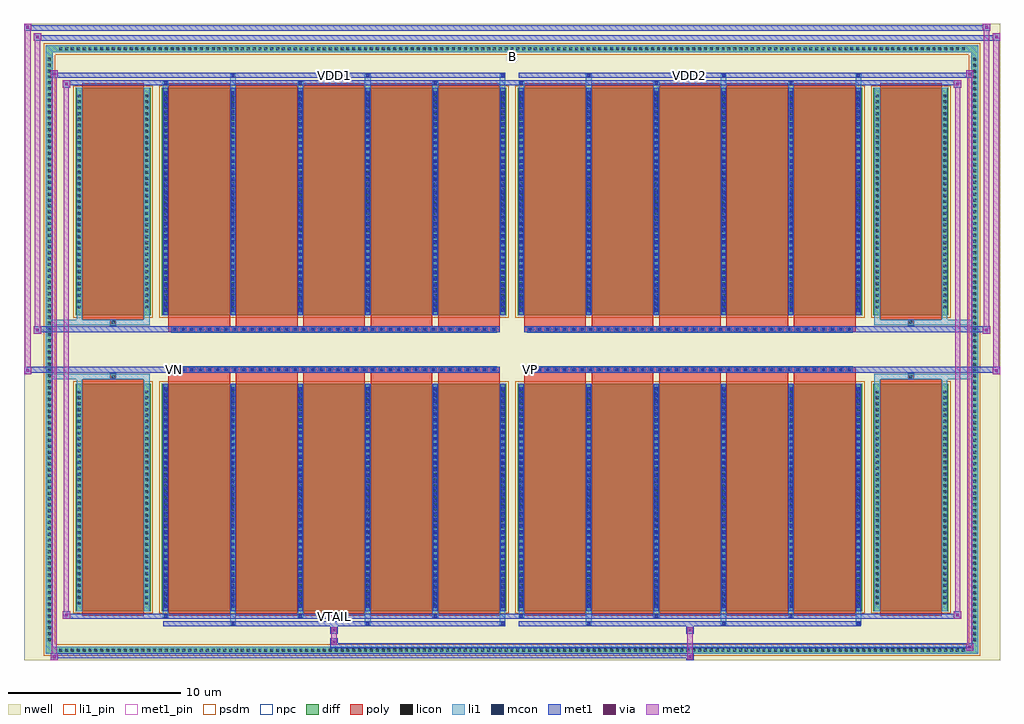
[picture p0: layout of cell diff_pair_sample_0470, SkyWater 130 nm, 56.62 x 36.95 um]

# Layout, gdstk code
import gdstk
lib = gdstk.Library(unit=1e-6, precision=5e-09)
def R(c, l, rs):  # rectangles x0, y0, x1, y1
    for r in rs: c.add(gdstk.rectangle(r[:2], r[2:], *l))
def A(c, l, x, y, w, h, nx, ny, dx, dy):  # array of equal rectangles
    R(c, l, [(x+i*dx, y+j*dy, x+i*dx+w, y+j*dy+h) for i in range(nx) for j in range(ny)])
def P(c, l, *ps):  # polygons
    for p in ps: c.add(gdstk.Polygon(p, *l))
nwell = (64, 20)
diff = (65, 20)
poly = (66, 20)
licon = (66, 44)
li1_pin = (67, 16)
li1 = (67, 20)
mcon = (67, 44)
met1_pin = (68, 16)
met1 = (68, 20)
via = (68, 44)
met2 = (69, 20)
psdm = (94, 20)
npc = (95, 20)

diff_pair_sample_0470 = lib.new_cell('diff_pair_sample_0470')
R(diff_pair_sample_0470, nwell, [(-28.31,-18.04,28.31,18.91), (-25.63,-16.23,-0.01,-0.805), (0.01,-16.23,25.63,-0.805), (-25.63,0.805,-0.01,16.23), (0.01,0.805,25.63,16.23)])
A(diff_pair_sample_0470, diff, -26.385, -17.64, 0.41, 0.41, 155, 2, 0.34, 34.87)
A(diff_pair_sample_0470, diff, -27.04, -17.035, 0.41, 0.41, 1, 100, 0, 0.34)
A(diff_pair_sample_0470, diff, 26.63, -17.035, 0.41, 0.41, 1, 100, 0, 0.34)
R(diff_pair_sample_0470, diff, [(-26.385,-17.64,26.385,-17.23), (-27.04,-17.035,-26.63,17.035), (26.63,-17.035,27.04,17.035), (-25.32,-15.185,-20.96,-1.985), (-20.32,-15.185,-0.32,-1.985), (0.32,-15.185,20.32,-1.985), (20.96,-15.185,25.32,-1.985), (-25.32,1.985,-20.96,15.185), (-20.32,1.985,-0.32,15.185), (0.32,1.985,20.32,15.185), (20.96,1.985,25.32,15.185), (-26.385,17.23,26.385,17.64)])
P(diff_pair_sample_0470, diff, [(27.04,17.64),(-27.04,17.64),(-27.04,-17.23),(-26.63,-17.23),(-26.63,17.23),(26.63,17.23),(26.63,-17.23),(-26.63,-17.23),(-27.04,-17.23),(-27.04,-17.64),(27.04,-17.64)])
A(diff_pair_sample_0470, poly, -19.93, -15.435, 3.58, 13.7, 5, 2, 3.91, 17.17)
A(diff_pair_sample_0470, poly, 0.71, -15.435, 3.58, 13.7, 5, 2, 3.91, 17.17)
A(diff_pair_sample_0470, poly, -19.93, -1.735, 3.58, 0.4, 5, 2, 3.91, 3.07)
A(diff_pair_sample_0470, poly, 0.71, -1.735, 3.58, 0.4, 5, 2, 3.91, 3.07)
A(diff_pair_sample_0470, poly, -19.735, -1.335, 0.33, 0.33, 38, 2, 0.5, 2.34)
A(diff_pair_sample_0470, poly, 0.905, -1.335, 0.33, 0.33, 38, 2, 0.5, 2.34)
R(diff_pair_sample_0470, poly, [(-24.93,-15.435,-21.35,-1.735), (21.35,-15.435,24.93,-1.735), (-23.305,-1.735,-22.975,-1.405), (-23.305,-1.735,-22.975,-1.405), (22.975,-1.735,23.305,-1.405), (22.975,-1.735,23.305,-1.405), (-19.93,-1.335,-0.71,-1.005), (0.71,-1.335,19.93,-1.005), (-19.93,1.005,-0.71,1.335), (0.71,1.005,19.93,1.335), (-23.305,1.405,-22.975,1.735), (-23.305,1.405,-22.975,1.735), (22.975,1.405,23.305,1.735), (22.975,1.405,23.305,1.735), (-24.93,1.735,-21.35,15.435), (21.35,1.735,24.93,15.435)])
A(diff_pair_sample_0470, licon, -26.265, -17.52, 0.17, 0.17, 155, 2, 0.34, 34.87)
A(diff_pair_sample_0470, licon, -26.92, -16.915, 0.17, 0.17, 1, 100, 0, 0.34)
A(diff_pair_sample_0470, licon, 26.75, -16.915, 0.17, 0.17, 1, 100, 0, 0.34)
A(diff_pair_sample_0470, licon, -25.18, -14.79, 0.17, 0.17, 1, 37, 0, 0.34)
A(diff_pair_sample_0470, licon, -21.27, -14.79, 0.17, 0.17, 1, 37, 0, 0.34)
A(diff_pair_sample_0470, licon, -20.18, -14.79, 0.17, 0.17, 6, 37, 3.91, 0.34)
A(diff_pair_sample_0470, licon, 0.46, -14.79, 0.17, 0.17, 6, 37, 3.91, 0.34)
A(diff_pair_sample_0470, licon, 21.1, -14.79, 0.17, 0.17, 1, 37, 0, 0.34)
A(diff_pair_sample_0470, licon, 25.01, -14.79, 0.17, 0.17, 1, 37, 0, 0.34)
A(diff_pair_sample_0470, licon, -19.655, -1.255, 0.17, 0.17, 38, 2, 0.5, 2.34)
A(diff_pair_sample_0470, licon, 0.985, -1.255, 0.17, 0.17, 38, 2, 0.5, 2.34)
A(diff_pair_sample_0470, licon, -25.18, 2.38, 0.17, 0.17, 1, 37, 0, 0.34)
A(diff_pair_sample_0470, licon, -21.27, 2.38, 0.17, 0.17, 1, 37, 0, 0.34)
A(diff_pair_sample_0470, licon, -20.18, 2.38, 0.17, 0.17, 6, 37, 3.91, 0.34)
A(diff_pair_sample_0470, licon, 0.46, 2.38, 0.17, 0.17, 6, 37, 3.91, 0.34)
A(diff_pair_sample_0470, licon, 21.1, 2.38, 0.17, 0.17, 1, 37, 0, 0.34)
A(diff_pair_sample_0470, licon, 25.01, 2.38, 0.17, 0.17, 1, 37, 0, 0.34)
R(diff_pair_sample_0470, licon, [(-23.225,-1.655,-23.055,-1.485), (23.055,-1.655,23.225,-1.485), (-23.225,1.485,-23.055,1.655), (23.055,1.485,23.225,1.655)])
R(diff_pair_sample_0470, li1_pin, [(-0.25,16.73,0.25,17.23)])
A(diff_pair_sample_0470, li1, -26.345, -17.6, 0.33, 0.33, 155, 2, 0.34, 34.87)
A(diff_pair_sample_0470, li1, -27, -16.995, 0.33, 0.33, 1, 100, 0, 0.34)
A(diff_pair_sample_0470, li1, 26.67, -16.995, 0.33, 0.33, 1, 100, 0, 0.34)
A(diff_pair_sample_0470, li1, -16.35, -15.99, 0.33, 0.805, 3, 2, 7.82, 31.175)
A(diff_pair_sample_0470, li1, -16.27, -15.99, 0.17, 0.17, 3, 2, 7.82, 31.81)
A(diff_pair_sample_0470, li1, 4.29, -15.99, 0.33, 0.805, 3, 2, 7.82, 31.175)
A(diff_pair_sample_0470, li1, 4.37, -15.99, 0.17, 0.17, 3, 2, 7.82, 31.81)
A(diff_pair_sample_0470, li1, -20.26, -15.56, 0.33, 0.375, 3, 2, 7.82, 30.745)
A(diff_pair_sample_0470, li1, -20.18, -15.56, 0.17, 0.17, 3, 2, 7.82, 30.95)
A(diff_pair_sample_0470, li1, 0.38, -15.56, 0.33, 0.375, 3, 2, 7.82, 30.745)
A(diff_pair_sample_0470, li1, 0.46, -15.56, 0.17, 0.17, 3, 2, 7.82, 30.95)
A(diff_pair_sample_0470, li1, -20.26, -15.185, 0.33, 13.2, 6, 2, 3.91, 17.17)
A(diff_pair_sample_0470, li1, 0.38, -15.185, 0.33, 13.2, 6, 2, 3.91, 17.17)
A(diff_pair_sample_0470, li1, -20.18, -14.97, 0.17, 0.17, 6, 36, 3.91, 0.36)
A(diff_pair_sample_0470, li1, -20.18, -14.97, 0.17, 12.77, 6, 2, 3.91, 17.17)
A(diff_pair_sample_0470, li1, 0.46, -14.97, 0.17, 0.17, 6, 36, 3.91, 0.36)
A(diff_pair_sample_0470, li1, 0.46, -14.97, 0.17, 12.77, 6, 2, 3.91, 17.17)
A(diff_pair_sample_0470, li1, -25.26, -14.87, 0.33, 0.33, 1, 37, 0, 0.34)
A(diff_pair_sample_0470, li1, -21.35, -14.87, 0.33, 0.33, 1, 37, 0, 0.34)
A(diff_pair_sample_0470, li1, -20.26, -14.87, 0.33, 0.33, 6, 37, 3.91, 0.34)
A(diff_pair_sample_0470, li1, 0.38, -14.87, 0.33, 0.33, 6, 37, 3.91, 0.34)
A(diff_pair_sample_0470, li1, 21.02, -14.87, 0.33, 0.33, 1, 37, 0, 0.34)
A(diff_pair_sample_0470, li1, 24.93, -14.87, 0.33, 0.33, 1, 37, 0, 0.34)
A(diff_pair_sample_0470, li1, -19.735, -1.335, 0.33, 0.33, 38, 2, 0.5, 2.34)
A(diff_pair_sample_0470, li1, 0.905, -1.335, 0.33, 0.33, 38, 2, 0.5, 2.34)
A(diff_pair_sample_0470, li1, -20.18, 2.2, 0.17, 0.17, 6, 36, 3.91, 0.36)
A(diff_pair_sample_0470, li1, 0.46, 2.2, 0.17, 0.17, 6, 36, 3.91, 0.36)
A(diff_pair_sample_0470, li1, -25.26, 2.3, 0.33, 0.33, 1, 37, 0, 0.34)
A(diff_pair_sample_0470, li1, -21.35, 2.3, 0.33, 0.33, 1, 37, 0, 0.34)
A(diff_pair_sample_0470, li1, -20.26, 2.3, 0.33, 0.33, 6, 37, 3.91, 0.34)
A(diff_pair_sample_0470, li1, 0.38, 2.3, 0.33, 0.33, 6, 37, 3.91, 0.34)
A(diff_pair_sample_0470, li1, 21.02, 2.3, 0.33, 0.33, 1, 37, 0, 0.34)
A(diff_pair_sample_0470, li1, 24.93, 2.3, 0.33, 0.33, 1, 37, 0, 0.34)
R(diff_pair_sample_0470, li1, [(-27.04,-17.64,-26.63,-17.23), (-27.04,-17.64,-26.63,-17.23), (-26.63,-17.64,26.63,-17.23), (26.63,-17.64,27.04,-17.23), (26.63,-17.64,27.04,-17.23), (-27.04,-17.23,-26.63,17.23), (26.63,-17.23,27.04,17.23), (-25.26,-15.185,-24.93,-1.985), (-21.35,-15.185,-21.02,-1.985), (21.02,-15.185,21.35,-1.985), (24.93,-15.185,25.26,-1.985), (-25.26,-1.985,-24.93,-1.405), (-21.35,-1.985,-21.02,-1.405), (21.02,-1.985,21.35,-1.405), (24.93,-1.985,25.26,-1.405), (-27.04,-1.735,-23.305,-1.405), (-25.26,-1.735,-23.305,-1.405), (-23.305,-1.735,-22.975,-1.405), (-22.975,-1.735,-21.02,-1.405), (21.02,-1.735,22.975,-1.405), (22.975,-1.735,23.305,-1.405), (22.975,-1.735,27.04,-1.405), (23.305,-1.735,25.26,-1.405), (-27.04,1.405,-23.305,1.735), (-25.26,1.405,-23.305,1.735), (-25.26,1.405,-24.93,1.985), (-23.305,1.405,-22.975,1.735), (-22.975,1.405,-21.02,1.735), (-21.35,1.405,-21.02,1.985), (21.02,1.405,22.975,1.735), (21.02,1.405,21.35,1.985), (22.975,1.405,23.305,1.735), (22.975,1.405,27.04,1.735), (23.305,1.405,25.26,1.735), (24.93,1.405,25.26,1.985), (-25.26,1.985,-24.93,15.185), (-21.35,1.985,-21.02,15.185), (21.02,1.985,21.35,15.185), (24.93,1.985,25.26,15.185), (-27.04,17.23,-26.63,17.64), (-27.04,17.23,-26.63,17.64), (-26.63,17.23,26.63,17.64), (26.63,17.23,27.04,17.64), (26.63,17.23,27.04,17.64)])
A(diff_pair_sample_0470, mcon, -16.27, -15.99, 0.17, 0.17, 3, 2, 7.82, 31.81)
A(diff_pair_sample_0470, mcon, 4.37, -15.99, 0.17, 0.17, 3, 2, 7.82, 31.81)
A(diff_pair_sample_0470, mcon, -20.18, -15.56, 0.17, 0.17, 3, 2, 7.82, 30.95)
A(diff_pair_sample_0470, mcon, 0.46, -15.56, 0.17, 0.17, 3, 2, 7.82, 30.95)
A(diff_pair_sample_0470, mcon, -20.18, -14.97, 0.17, 0.17, 6, 36, 3.91, 0.36)
A(diff_pair_sample_0470, mcon, 0.46, -14.97, 0.17, 0.17, 6, 36, 3.91, 0.36)
A(diff_pair_sample_0470, mcon, -19.655, -1.255, 0.17, 0.17, 38, 2, 0.5, 2.34)
A(diff_pair_sample_0470, mcon, 0.985, -1.255, 0.17, 0.17, 38, 2, 0.5, 2.34)
A(diff_pair_sample_0470, mcon, -20.18, 2.2, 0.17, 0.17, 6, 36, 3.91, 0.36)
A(diff_pair_sample_0470, mcon, 0.46, 2.2, 0.17, 0.17, 6, 36, 3.91, 0.36)
R(diff_pair_sample_0470, met1_pin, [(-10.455,-15.6,-10.185,-15.33), (-19.705,-1.295,-19.435,-1.025), (0.935,-1.295,1.205,-1.025), (-10.455,15.78,-10.185,16.05), (10.185,15.78,10.455,16.05)])
A(diff_pair_sample_0470, met1, -16.33, -16.05, 0.29, 0.29, 3, 2, 7.82, 31.81)
A(diff_pair_sample_0470, met1, 4.31, -16.05, 0.29, 0.29, 3, 2, 7.82, 31.81)
A(diff_pair_sample_0470, met1, -20.24, -15.62, 0.29, 0.29, 3, 2, 7.82, 30.95)
A(diff_pair_sample_0470, met1, 0.4, -15.62, 0.29, 0.29, 3, 2, 7.82, 30.95)
A(diff_pair_sample_0470, met1, -20.24, -15.185, 0.29, 13.2, 6, 2, 3.91, 17.17)
A(diff_pair_sample_0470, met1, 0.4, -15.185, 0.29, 13.2, 6, 2, 3.91, 17.17)
A(diff_pair_sample_0470, met1, -20.24, -15.03, 0.29, 0.29, 6, 36, 3.91, 0.36)
A(diff_pair_sample_0470, met1, 0.4, -15.03, 0.29, 0.29, 6, 36, 3.91, 0.36)
A(diff_pair_sample_0470, met1, -19.715, -1.315, 0.29, 0.29, 38, 2, 0.5, 2.34)
A(diff_pair_sample_0470, met1, 0.925, -1.315, 0.29, 0.29, 38, 2, 0.5, 2.34)
A(diff_pair_sample_0470, met1, -20.24, 2.14, 0.29, 0.29, 6, 36, 3.91, 0.36)
A(diff_pair_sample_0470, met1, 0.4, 2.14, 0.29, 0.29, 6, 36, 3.91, 0.36)
R(diff_pair_sample_0470, met1, [(-26.77,-18.04,-26.34,-17.61), (10.105,-18.04,10.535,-17.61), (-26.77,-17.9,10.535,-17.61), (26.34,-17.47,26.77,-17.04), (-10.535,-17.33,26.77,-17.04), (-10.535,-17.19,-10.105,-16.76), (-10.535,-16.48,-10.105,-16.05), (10.105,-16.48,10.535,-16.05), (-20.24,-16.05,-0.4,-15.76), (0.4,-16.05,20.24,-15.76), (-26.06,-15.62,-25.63,-15.19), (-26.06,-15.62,-20.24,-15.33), (-20.24,-15.62,-0.4,-15.33), (-0.4,-15.62,0.4,-15.33), (0.4,-15.62,20.24,-15.33), (20.24,-15.62,26.06,-15.33), (25.63,-15.62,26.06,-15.19), (-28.31,-1.435,-27.88,-1.005), (27.88,-1.435,28.31,-1.005), (-28.31,-1.335,-0.71,-1.005), (-19.93,-1.335,-0.71,-1.005), (0.71,-1.335,19.93,-1.005), (0.71,-1.335,28.31,-1.005), (-27.74,0.905,-27.31,1.335), (27.31,0.905,27.74,1.335), (-27.74,1.005,-19.93,1.335), (-19.93,1.005,-0.71,1.335), (0.71,1.005,19.93,1.335), (19.93,1.005,27.74,1.335), (-26.06,15.19,-25.63,15.62), (25.63,15.19,26.06,15.62), (-26.06,15.33,-20.24,15.62), (-20.24,15.33,-0.4,15.62), (-0.4,15.33,0.4,15.62), (0.4,15.33,20.24,15.62), (20.24,15.33,26.06,15.62), (-26.77,15.76,-26.34,16.19), (-26.77,15.76,-20.24,16.05), (-20.24,15.76,-0.4,16.05), (0.4,15.76,20.24,16.05), (20.24,15.76,26.77,16.05), (26.34,15.76,26.77,16.19), (-27.74,17.91,-27.31,18.34), (-27.74,17.91,-25.63,18.24), (-25.63,17.91,25.63,18.24), (25.63,17.91,28.31,18.24), (27.88,17.91,28.31,18.34), (-28.31,18.48,-27.88,18.91), (-28.31,18.48,-25.63,18.81), (-25.63,18.48,25.63,18.81), (25.63,18.48,27.74,18.81), (27.31,18.48,27.74,18.91)])
R(diff_pair_sample_0470, via, [(-26.63,-17.9,-26.48,-17.75), (10.245,-17.9,10.395,-17.75), (26.48,-17.33,26.63,-17.18), (-10.395,-17.05,-10.245,-16.9), (-10.395,-16.34,-10.245,-16.19), (10.245,-16.34,10.395,-16.19), (-25.92,-15.48,-25.77,-15.33), (25.77,-15.48,25.92,-15.33), (-28.17,-1.295,-28.02,-1.145), (28.02,-1.295,28.17,-1.145), (-27.6,1.045,-27.45,1.195), (27.45,1.045,27.6,1.195), (-25.92,15.33,-25.77,15.48), (25.77,15.33,25.92,15.48), (-26.63,15.9,-26.48,16.05), (26.48,15.9,26.63,16.05), (-27.6,18.05,-27.45,18.2), (28.02,18.05,28.17,18.2), (-28.17,18.62,-28.02,18.77), (27.45,18.62,27.6,18.77)])
R(diff_pair_sample_0470, met2, [(-26.77,-18.04,-26.34,-17.61), (-26.7,-18.04,-26.41,16.19), (-26.41,-18.04,-26.34,-17.61), (-26.72,-17.99,-26.39,-17.66), (10.155,-17.99,10.485,-17.66), (10.155,-17.66,10.485,-16.43), (26.34,-17.47,26.77,-17.04), (26.41,-17.47,26.7,16.19), (26.7,-17.47,26.77,-17.04), (26.39,-17.42,26.72,-17.09), (-10.485,-17.14,-10.155,-16.81), (-10.485,-16.81,-10.155,-16.43), (-10.485,-16.43,-10.155,-16.1), (10.155,-16.43,10.485,-16.1), (-26.06,-15.62,-25.63,-15.19), (-25.99,-15.62,-25.7,15.62), (-25.7,-15.62,-25.63,-15.19), (25.63,-15.62,26.06,-15.19), (25.7,-15.62,25.99,15.62), (25.99,-15.62,26.06,-15.19), (-26.01,-15.57,-25.68,-15.24), (25.68,-15.57,26.01,-15.24), (-28.31,-1.435,-27.88,-1.005), (-28.26,-1.435,-27.93,18.91), (-27.93,-1.435,-27.88,-1.005), (27.88,-1.435,28.31,-1.005), (27.93,-1.435,28.26,18.34), (28.26,-1.435,28.31,-1.005), (-28.26,-1.385,-27.93,-1.055), (27.93,-1.385,28.26,-1.055), (-27.74,0.905,-27.31,1.335), (-27.69,0.905,-27.36,18.34), (-27.36,0.905,-27.31,1.335), (27.31,0.905,27.74,1.335), (27.36,0.905,27.69,18.91), (27.69,0.905,27.74,1.335), (-27.69,0.955,-27.36,1.285), (27.36,0.955,27.69,1.285), (-26.06,15.19,-25.63,15.62), (-25.7,15.19,-25.63,15.62), (25.63,15.19,26.06,15.62), (25.99,15.19,26.06,15.62), (-26.01,15.24,-25.68,15.57), (25.68,15.24,26.01,15.57), (-26.77,15.76,-26.34,16.19), (-26.41,15.76,-26.34,16.19), (26.34,15.76,26.77,16.19), (26.7,15.76,26.77,16.19), (-26.72,15.81,-26.39,16.14), (26.39,15.81,26.72,16.14), (-27.74,17.91,-27.31,18.34), (-27.36,17.91,-27.31,18.34), (27.88,17.91,28.31,18.34), (28.26,17.91,28.31,18.34), (-27.69,17.96,-27.36,18.29), (27.93,17.96,28.26,18.29), (-28.31,18.48,-27.88,18.91), (-27.93,18.48,-27.88,18.91), (27.31,18.48,27.74,18.91), (27.69,18.48,27.74,18.91), (-28.26,18.53,-27.93,18.86), (27.36,18.53,27.69,18.86)])
R(diff_pair_sample_0470, psdm, [(-25.45,-15.315,-20.83,-1.855), (-20.45,-15.315,-0.19,-1.855), (0.19,-15.315,20.45,-1.855), (20.83,-15.315,25.45,-1.855), (-25.45,1.855,-20.83,15.315), (-20.45,1.855,-0.19,15.315), (0.19,1.855,20.45,15.315), (20.83,1.855,25.45,15.315)])
P(diff_pair_sample_0470, psdm, [(27.17,17.77),(-27.17,17.77),(-27.17,-17.1),(-26.5,-17.1),(-26.5,17.1),(26.5,17.1),(26.5,-17.1),(-26.5,-17.1),(-27.17,-17.1),(-27.17,-17.77),(27.17,-17.77)])
A(diff_pair_sample_0470, npc, -19.755, -1.355, 0.37, 0.37, 38, 2, 0.5, 2.34)
A(diff_pair_sample_0470, npc, 0.885, -1.355, 0.37, 0.37, 38, 2, 0.5, 2.34)
R(diff_pair_sample_0470, npc, [(-23.325,-1.755,-22.955,-1.385), (22.955,-1.755,23.325,-1.385), (-19.755,-1.355,-18.885,-0.985), (-19.755,-1.355,-18.885,-0.985), (-19.255,-1.355,-18.385,-0.985), (-19.255,-1.355,-18.385,-0.985), (-18.755,-1.355,-17.885,-0.985), (-18.755,-1.355,-17.885,-0.985), (-18.255,-1.355,-17.385,-0.985), (-18.255,-1.355,-17.385,-0.985), (-17.755,-1.355,-16.885,-0.985), (-17.755,-1.355,-16.885,-0.985), (-17.255,-1.355,-16.385,-0.985), (-17.255,-1.355,-16.385,-0.985), (-16.755,-1.355,-15.885,-0.985), (-16.755,-1.355,-15.885,-0.985), (-16.255,-1.355,-15.385,-0.985), (-16.255,-1.355,-15.385,-0.985), (-15.755,-1.355,-14.885,-0.985), (-15.755,-1.355,-14.885,-0.985), (-15.255,-1.355,-14.385,-0.985), (-15.255,-1.355,-14.385,-0.985), (-14.755,-1.355,-13.885,-0.985), (-14.755,-1.355,-13.885,-0.985), (-14.255,-1.355,-13.385,-0.985), (-14.255,-1.355,-13.385,-0.985), (-13.755,-1.355,-12.885,-0.985), (-13.755,-1.355,-12.885,-0.985), (-13.255,-1.355,-12.385,-0.985), (-13.255,-1.355,-12.385,-0.985), (-12.755,-1.355,-11.885,-0.985), (-12.755,-1.355,-11.885,-0.985), (-12.255,-1.355,-11.385,-0.985), (-12.255,-1.355,-11.385,-0.985), (-11.755,-1.355,-10.885,-0.985), (-11.755,-1.355,-10.885,-0.985), (-11.255,-1.355,-10.385,-0.985), (-11.255,-1.355,-10.385,-0.985), (-10.755,-1.355,-9.885,-0.985), (-10.755,-1.355,-9.885,-0.985), (-10.255,-1.355,-9.385,-0.985), (-10.255,-1.355,-9.385,-0.985), (-9.755,-1.355,-8.885,-0.985), (-9.755,-1.355,-8.885,-0.985), (-9.255,-1.355,-8.385,-0.985), (-9.255,-1.355,-8.385,-0.985), (-8.755,-1.355,-7.885,-0.985), (-8.755,-1.355,-7.885,-0.985), (-8.255,-1.355,-7.385,-0.985), (-8.255,-1.355,-7.385,-0.985), (-7.755,-1.355,-6.885,-0.985), (-7.755,-1.355,-6.885,-0.985), (-7.255,-1.355,-6.385,-0.985), (-7.255,-1.355,-6.385,-0.985), (-6.755,-1.355,-5.885,-0.985), (-6.755,-1.355,-5.885,-0.985), (-6.255,-1.355,-5.385,-0.985), (-6.255,-1.355,-5.385,-0.985), (-5.755,-1.355,-4.885,-0.985), (-5.755,-1.355,-4.885,-0.985), (-5.255,-1.355,-4.385,-0.985), (-5.255,-1.355,-4.385,-0.985), (-4.755,-1.355,-3.885,-0.985), (-4.755,-1.355,-3.885,-0.985), (-4.255,-1.355,-3.385,-0.985), (-4.255,-1.355,-3.385,-0.985), (-3.755,-1.355,-2.885,-0.985), (-3.755,-1.355,-2.885,-0.985), (-3.255,-1.355,-2.385,-0.985), (-3.255,-1.355,-2.385,-0.985), (-2.755,-1.355,-1.885,-0.985), (-2.755,-1.355,-1.885,-0.985), (-2.255,-1.355,-1.385,-0.985), (-2.255,-1.355,-1.385,-0.985), (-1.755,-1.355,-0.885,-0.985), (-1.755,-1.355,-0.885,-0.985), (0.885,-1.355,1.755,-0.985), (0.885,-1.355,1.755,-0.985), (1.385,-1.355,2.255,-0.985), (1.385,-1.355,2.255,-0.985), (1.885,-1.355,2.755,-0.985), (1.885,-1.355,2.755,-0.985), (2.385,-1.355,3.255,-0.985), (2.385,-1.355,3.255,-0.985), (2.885,-1.355,3.755,-0.985), (2.885,-1.355,3.755,-0.985), (3.385,-1.355,4.255,-0.985), (3.385,-1.355,4.255,-0.985), (3.885,-1.355,4.755,-0.985), (3.885,-1.355,4.755,-0.985), (4.385,-1.355,5.255,-0.985), (4.385,-1.355,5.255,-0.985), (4.885,-1.355,5.755,-0.985), (4.885,-1.355,5.755,-0.985), (5.385,-1.355,6.255,-0.985), (5.385,-1.355,6.255,-0.985), (5.885,-1.355,6.755,-0.985), (5.885,-1.355,6.755,-0.985), (6.385,-1.355,7.255,-0.985), (6.385,-1.355,7.255,-0.985), (6.885,-1.355,7.755,-0.985), (6.885,-1.355,7.755,-0.985), (7.385,-1.355,8.255,-0.985), (7.385,-1.355,8.255,-0.985), (7.885,-1.355,8.755,-0.985), (7.885,-1.355,8.755,-0.985), (8.385,-1.355,9.255,-0.985), (8.385,-1.355,9.255,-0.985), (8.885,-1.355,9.755,-0.985), (8.885,-1.355,9.755,-0.985), (9.385,-1.355,10.255,-0.985), (9.385,-1.355,10.255,-0.985), (9.885,-1.355,10.755,-0.985), (9.885,-1.355,10.755,-0.985), (10.385,-1.355,11.255,-0.985), (10.385,-1.355,11.255,-0.985), (10.885,-1.355,11.755,-0.985), (10.885,-1.355,11.755,-0.985), (11.385,-1.355,12.255,-0.985), (11.385,-1.355,12.255,-0.985), (11.885,-1.355,12.755,-0.985), (11.885,-1.355,12.755,-0.985), (12.385,-1.355,13.255,-0.985), (12.385,-1.355,13.255,-0.985), (12.885,-1.355,13.755,-0.985), (12.885,-1.355,13.755,-0.985), (13.385,-1.355,14.255,-0.985), (13.385,-1.355,14.255,-0.985), (13.885,-1.355,14.755,-0.985), (13.885,-1.355,14.755,-0.985), (14.385,-1.355,15.255,-0.985), (14.385,-1.355,15.255,-0.985), (14.885,-1.355,15.755,-0.985), (14.885,-1.355,15.755,-0.985), (15.385,-1.355,16.255,-0.985), (15.385,-1.355,16.255,-0.985), (15.885,-1.355,16.755,-0.985), (15.885,-1.355,16.755,-0.985), (16.385,-1.355,17.255,-0.985), (16.385,-1.355,17.255,-0.985), (16.885,-1.355,17.755,-0.985), (16.885,-1.355,17.755,-0.985), (17.385,-1.355,18.255,-0.985), (17.385,-1.355,18.255,-0.985), (17.885,-1.355,18.755,-0.985), (17.885,-1.355,18.755,-0.985), (18.385,-1.355,19.255,-0.985), (18.385,-1.355,19.255,-0.985), (18.885,-1.355,19.755,-0.985), (18.885,-1.355,19.755,-0.985), (-19.755,0.985,-18.885,1.355), (-19.755,0.985,-18.885,1.355), (-19.255,0.985,-18.385,1.355), (-19.255,0.985,-18.385,1.355), (-18.755,0.985,-17.885,1.355), (-18.755,0.985,-17.885,1.355), (-18.255,0.985,-17.385,1.355), (-18.255,0.985,-17.385,1.355), (-17.755,0.985,-16.885,1.355), (-17.755,0.985,-16.885,1.355), (-17.255,0.985,-16.385,1.355), (-17.255,0.985,-16.385,1.355), (-16.755,0.985,-15.885,1.355), (-16.755,0.985,-15.885,1.355), (-16.255,0.985,-15.385,1.355), (-16.255,0.985,-15.385,1.355), (-15.755,0.985,-14.885,1.355), (-15.755,0.985,-14.885,1.355), (-15.255,0.985,-14.385,1.355), (-15.255,0.985,-14.385,1.355), (-14.755,0.985,-13.885,1.355), (-14.755,0.985,-13.885,1.355), (-14.255,0.985,-13.385,1.355), (-14.255,0.985,-13.385,1.355), (-13.755,0.985,-12.885,1.355), (-13.755,0.985,-12.885,1.355), (-13.255,0.985,-12.385,1.355), (-13.255,0.985,-12.385,1.355), (-12.755,0.985,-11.885,1.355), (-12.755,0.985,-11.885,1.355), (-12.255,0.985,-11.385,1.355), (-12.255,0.985,-11.385,1.355), (-11.755,0.985,-10.885,1.355), (-11.755,0.985,-10.885,1.355), (-11.255,0.985,-10.385,1.355), (-11.255,0.985,-10.385,1.355), (-10.755,0.985,-9.885,1.355), (-10.755,0.985,-9.885,1.355), (-10.255,0.985,-9.385,1.355), (-10.255,0.985,-9.385,1.355), (-9.755,0.985,-8.885,1.355), (-9.755,0.985,-8.885,1.355), (-9.255,0.985,-8.385,1.355), (-9.255,0.985,-8.385,1.355), (-8.755,0.985,-7.885,1.355), (-8.755,0.985,-7.885,1.355), (-8.255,0.985,-7.385,1.355), (-8.255,0.985,-7.385,1.355), (-7.755,0.985,-6.885,1.355), (-7.755,0.985,-6.885,1.355), (-7.255,0.985,-6.385,1.355), (-7.255,0.985,-6.385,1.355), (-6.755,0.985,-5.885,1.355), (-6.755,0.985,-5.885,1.355), (-6.255,0.985,-5.385,1.355), (-6.255,0.985,-5.385,1.355), (-5.755,0.985,-4.885,1.355), (-5.755,0.985,-4.885,1.355), (-5.255,0.985,-4.385,1.355), (-5.255,0.985,-4.385,1.355), (-4.755,0.985,-3.885,1.355), (-4.755,0.985,-3.885,1.355), (-4.255,0.985,-3.385,1.355), (-4.255,0.985,-3.385,1.355), (-3.755,0.985,-2.885,1.355), (-3.755,0.985,-2.885,1.355), (-3.255,0.985,-2.385,1.355), (-3.255,0.985,-2.385,1.355), (-2.755,0.985,-1.885,1.355), (-2.755,0.985,-1.885,1.355), (-2.255,0.985,-1.385,1.355), (-2.255,0.985,-1.385,1.355), (-1.755,0.985,-0.885,1.355), (-1.755,0.985,-0.885,1.355), (0.885,0.985,1.755,1.355), (0.885,0.985,1.755,1.355), (1.385,0.985,2.255,1.355), (1.385,0.985,2.255,1.355), (1.885,0.985,2.755,1.355), (1.885,0.985,2.755,1.355), (2.385,0.985,3.255,1.355), (2.385,0.985,3.255,1.355), (2.885,0.985,3.755,1.355), (2.885,0.985,3.755,1.355), (3.385,0.985,4.255,1.355), (3.385,0.985,4.255,1.355), (3.885,0.985,4.755,1.355), (3.885,0.985,4.755,1.355), (4.385,0.985,5.255,1.355), (4.385,0.985,5.255,1.355), (4.885,0.985,5.755,1.355), (4.885,0.985,5.755,1.355), (5.385,0.985,6.255,1.355), (5.385,0.985,6.255,1.355), (5.885,0.985,6.755,1.355), (5.885,0.985,6.755,1.355), (6.385,0.985,7.255,1.355), (6.385,0.985,7.255,1.355), (6.885,0.985,7.755,1.355), (6.885,0.985,7.755,1.355), (7.385,0.985,8.255,1.355), (7.385,0.985,8.255,1.355), (7.885,0.985,8.755,1.355), (7.885,0.985,8.755,1.355), (8.385,0.985,9.255,1.355), (8.385,0.985,9.255,1.355), (8.885,0.985,9.755,1.355), (8.885,0.985,9.755,1.355), (9.385,0.985,10.255,1.355), (9.385,0.985,10.255,1.355), (9.885,0.985,10.755,1.355), (9.885,0.985,10.755,1.355), (10.385,0.985,11.255,1.355), (10.385,0.985,11.255,1.355), (10.885,0.985,11.755,1.355), (10.885,0.985,11.755,1.355), (11.385,0.985,12.255,1.355), (11.385,0.985,12.255,1.355), (11.885,0.985,12.755,1.355), (11.885,0.985,12.755,1.355), (12.385,0.985,13.255,1.355), (12.385,0.985,13.255,1.355), (12.885,0.985,13.755,1.355), (12.885,0.985,13.755,1.355), (13.385,0.985,14.255,1.355), (13.385,0.985,14.255,1.355), (13.885,0.985,14.755,1.355), (13.885,0.985,14.755,1.355), (14.385,0.985,15.255,1.355), (14.385,0.985,15.255,1.355), (14.885,0.985,15.755,1.355), (14.885,0.985,15.755,1.355), (15.385,0.985,16.255,1.355), (15.385,0.985,16.255,1.355), (15.885,0.985,16.755,1.355), (15.885,0.985,16.755,1.355), (16.385,0.985,17.255,1.355), (16.385,0.985,17.255,1.355), (16.885,0.985,17.755,1.355), (16.885,0.985,17.755,1.355), (17.385,0.985,18.255,1.355), (17.385,0.985,18.255,1.355), (17.885,0.985,18.755,1.355), (17.885,0.985,18.755,1.355), (18.385,0.985,19.255,1.355), (18.385,0.985,19.255,1.355), (18.885,0.985,19.755,1.355), (18.885,0.985,19.755,1.355), (-23.325,1.385,-22.955,1.755), (22.955,1.385,23.325,1.755)])
diff_pair_sample_0470.add(gdstk.Label('VTAIL', (-10.32,-15.465), layer=68, texttype=5))
diff_pair_sample_0470.add(gdstk.Label('VN', (-19.57,-1.16), layer=68, texttype=5))
diff_pair_sample_0470.add(gdstk.Label('VP', (1.07,-1.16), layer=68, texttype=5))
diff_pair_sample_0470.add(gdstk.Label('B', (0,16.98), layer=67, texttype=5))
diff_pair_sample_0470.add(gdstk.Label('VDD2', (10.32,15.915), layer=68, texttype=5))
diff_pair_sample_0470.add(gdstk.Label('VDD1', (-10.32,15.915), layer=68, texttype=5))

lib.write_gds('diff_pair_sample_0470.gds')
